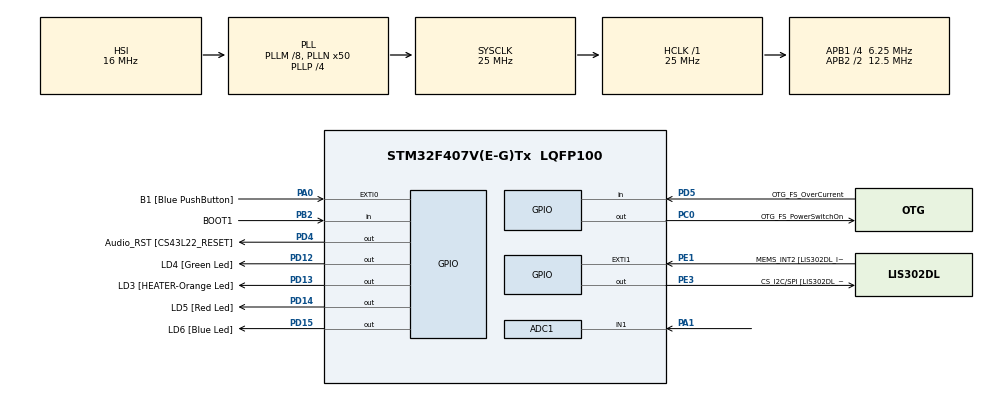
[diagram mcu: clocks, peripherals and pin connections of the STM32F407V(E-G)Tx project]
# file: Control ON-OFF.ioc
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ADC1.Channel-0\#ChannelRegularConversion=ADC_CHANNEL_1
ADC1.NbrOfConversionFlag=1
ADC1.Rank-0\#ChannelRegularConversion=1
ADC1.SamplingTime-0\#ChannelRegularConversion=ADC_SAMPLETIME_3CYCLES
ADC1.master=1
Mcu.Family=STM32F4
Mcu.Name=STM32F407V(E-G)Tx
Mcu.Package=LQFP100
NVIC.PriorityGroup=NVIC_PRIORITYGROUP_0
PA0-WKUP.GPIO_Label=B1 [Blue PushButton]
PA0-WKUP.Signal=GPXTI0
PA1.Signal=ADCx_IN1
PA10.GPIO_Label=OTG_FS_ID
PA10.GPIO_Mode=GPIO_MODE_AF_PP
PA10.GPIO_PuPd=GPIO_NOPULL
PA10.GPIO_Speed=GPIO_SPEED_FREQ_LOW
PA10.Signal=USB_OTG_FS_ID
PA11.GPIO_Label=OTG_FS_DM
PA11.GPIO_Mode=GPIO_MODE_AF_PP
PA11.GPIO_PuPd=GPIO_NOPULL
PA11.GPIO_Speed=GPIO_SPEED_FREQ_LOW
PA11.Signal=USB_OTG_FS_DM
PA12.GPIO_Label=OTG_FS_DP
PA12.GPIO_Mode=GPIO_MODE_AF_PP
PA12.GPIO_PuPd=GPIO_NOPULL
PA12.GPIO_Speed=GPIO_SPEED_FREQ_LOW
PA12.Signal=USB_OTG_FS_DP
PA13.GPIO_Label=SWDIO
PA13.Signal=SYS_JTMS-SWDIO
PA14.GPIO_Label=SWCLK
PA14.Signal=SYS_JTCK-SWCLK
PA4.GPIO_Label=I2S3_WS [CS43L22_LRCK]
PA4.GPIO_Mode=GPIO_MODE_AF_PP
PA4.GPIO_PuPd=GPIO_NOPULL
PA4.GPIO_Speed=GPIO_SPEED_FREQ_LOW
PA4.Signal=I2S3_WS
PA5.GPIO_Label=SPI1_SCK [LIS302DL_SCL/SPC]
PA5.GPIO_Mode=GPIO_MODE_AF_PP
PA5.GPIO_PuPd=GPIO_NOPULL
PA5.GPIO_Speed=GPIO_SPEED_FREQ_LOW
PA5.Signal=SPI1_SCK
PA6.GPIO_Label=SPI1_MISO [LIS302DL_SDO]
PA6.GPIO_Mode=GPIO_MODE_AF_PP
PA6.GPIO_PuPd=GPIO_NOPULL
PA6.GPIO_Speed=GPIO_SPEED_FREQ_LOW
PA6.Signal=SPI1_MISO
PA7.GPIO_Label=SPI1_MOSI [LIS302DL_SDA/SDI/SDO]
PA7.GPIO_Mode=GPIO_MODE_AF_PP
PA7.GPIO_PuPd=GPIO_NOPULL
PA7.GPIO_Speed=GPIO_SPEED_FREQ_LOW
PA7.Signal=SPI1_MOSI
PA9.GPIO_Label=VBUS_FS
PA9.GPIO_Mode=GPIO_MODE_INPUT
PA9.GPIO_PuPd=GPIO_NOPULL
PA9.Signal=USB_OTG_FS_VBUS
PB10.GPIO_Label=CLK_IN [MP45DT02_CLK]
PB10.GPIO_Mode=GPIO_MODE_AF_PP
PB10.GPIO_PuPd=GPIO_NOPULL
PB10.GPIO_Speed=GPIO_SPEED_FREQ_LOW
PB10.Signal=I2S2_CK
PB2.GPIO_Label=BOOT1
PB2.GPIO_Mode=GPIO_MODE_INPUT
PB2.GPIO_PuPd=GPIO_NOPULL
PB2.Signal=GPIO_Input
PB3.GPIO_Label=SWO
PB3.Signal=SYS_JTDO-SWO
PB6.GPIO_Label=Audio_SCL [CS43L22_SCL]
PB6.GPIO_Mode=GPIO_MODE_AF_OD
PB6.GPIO_PuPd=GPIO_NOPULL
PB6.GPIO_Speed=GPIO_SPEED_FREQ_LOW
PB6.Signal=I2C1_SCL
PB9.GPIO_Label=Audio_SDA [CS43L22_SDA]
PB9.GPIO_Mode=GPIO_MODE_AF_OD
PB9.GPIO_PuPd=GPIO_NOPULL
PB9.GPIO_Speed=GPIO_SPEED_FREQ_LOW
PB9.Signal=I2C1_SDA
PC0.GPIO_Label=OTG_FS_PowerSwitchOn
PC0.GPIO_PuPd=GPIO_NOPULL
PC0.GPIO_Speed=GPIO_SPEED_FREQ_LOW
PC0.PinState=GPIO_PIN_SET
PC0.Signal=GPIO_Output
PC10.GPIO_Label=I2S3_SCK [CS43L22_SCLK]
PC10.GPIO_Mode=GPIO_MODE_AF_PP
PC10.GPIO_PuPd=GPIO_NOPULL
PC10.GPIO_Speed=GPIO_SPEED_FREQ_LOW
PC10.Signal=I2S3_CK
PC12.GPIO_Label=I2S3_SD [CS43L22_SDIN]
PC12.GPIO_Mode=GPIO_MODE_AF_PP
PC12.GPIO_PuPd=GPIO_NOPULL
PC12.GPIO_Speed=GPIO_SPEED_FREQ_LOW
PC12.Signal=I2S3_SD
PC14-OSC32_IN.GPIO_Label=PC14-OSC32_IN
PC14-OSC32_IN.Signal=RCC_OSC32_IN
PC15-OSC32_OUT.GPIO_Label=PC15-OSC32_OUT
PC15-OSC32_OUT.Signal=RCC_OSC32_OUT
PC3.GPIO_Label=PDM_OUT [MP45DT02_DOUT]
PC3.GPIO_Mode=GPIO_MODE_AF_PP
PC3.GPIO_PuPd=GPIO_NOPULL
PC3.GPIO_Speed=GPIO_SPEED_FREQ_LOW
PC3.Signal=I2S2_SD
PC7.GPIO_Label=I2S3_MCK [CS43L22_MCLK]
PC7.GPIO_Mode=GPIO_MODE_AF_PP
PC7.GPIO_PuPd=GPIO_NOPULL
PC7.GPIO_Speed=GPIO_SPEED_FREQ_LOW
PC7.Signal=I2S3_MCK
PD12.GPIO_Label=LD4 [Green Led]
PD12.GPIO_PuPd=GPIO_NOPULL
PD12.GPIO_Speed=GPIO_SPEED_FREQ_LOW
PD12.Signal=GPIO_Output
PD13.GPIO_Label=LD3 [HEATER-Orange Led]
PD13.GPIO_PuPd=GPIO_NOPULL
PD13.GPIO_Speed=GPIO_SPEED_FREQ_LOW
PD13.Signal=GPIO_Output
PD14.GPIO_Label=LD5 [Red Led]
PD14.GPIO_PuPd=GPIO_NOPULL
PD14.GPIO_Speed=GPIO_SPEED_FREQ_LOW
PD14.Signal=GPIO_Output
PD15.GPIO_Label=LD6 [Blue Led]
PD15.GPIO_PuPd=GPIO_NOPULL
PD15.GPIO_Speed=GPIO_SPEED_FREQ_LOW
PD15.Signal=GPIO_Output
PD4.GPIO_Label=Audio_RST [CS43L22_RESET]
PD4.GPIO_PuPd=GPIO_NOPULL
PD4.GPIO_Speed=GPIO_SPEED_FREQ_LOW
PD4.Signal=GPIO_Output
PD5.GPIO_Label=OTG_FS_OverCurrent
PD5.GPIO_Mode=GPIO_MODE_INPUT
PD5.GPIO_PuPd=GPIO_NOPULL
PD5.Signal=GPIO_Input
PE1.GPIO_Label=MEMS_INT2 [LIS302DL_INT2]
PE1.GPIO_ModeDefaultEXTI=GPIO_MODE_EVT_RISING
PE1.GPIO_PuPd=GPIO_NOPULL
PE1.Signal=GPXTI1
PE3.GPIO_Label=CS_I2C/SPI [LIS302DL_CS_I2C/SPI]
PE3.GPIO_PuPd=GPIO_NOPULL
PE3.GPIO_Speed=GPIO_SPEED_FREQ_LOW
PE3.Signal=GPIO_Output
PH0-OSC_IN.GPIO_Label=PH0-OSC_IN
PH0-OSC_IN.Signal=RCC_OSC_IN
PH1-OSC_OUT.GPIO_Label=PH1-OSC_OUT
PH1-OSC_OUT.Signal=RCC_OSC_OUT
ProjectManager.HeapSize=0x200
ProjectManager.StackSize=0x400
ProjectManager.TargetToolchain=STM32CubeIDE
RCC.48MHZClocksFreq_Value=14285714.285714285
RCC.AHBFreq_Value=25000000
RCC.APB1CLKDivider=RCC_HCLK_DIV4
RCC.APB1Freq_Value=6250000
RCC.APB1TimFreq_Value=12500000
RCC.APB2CLKDivider=RCC_HCLK_DIV2
RCC.APB2Freq_Value=12500000
RCC.APB2TimFreq_Value=25000000
RCC.CortexFreq_Value=25000000
RCC.HCLKFreq_Value=25000000
RCC.HSE_VALUE=8000000
RCC.HSI_VALUE=16000000
RCC.LSE_VALUE=32768
RCC.PLLM=8
RCC.PLLN=50
RCC.PLLP=RCC_PLLP_DIV4
RCC.PLLQ=7
RCC.SYSCLKFreq_VALUE=25000000
RCC.SYSCLKSource=RCC_SYSCLKSOURCE_PLLCLK
RCC.VCOOutputFreq_Value=100000000
SH.ADCx_IN1.0=ADC1_IN1,IN1
board=STM32F407G-DISC1

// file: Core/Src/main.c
/* USER CODE BEGIN Header */
/**
  ******************************************************************************
  * @file           : main.c
  * @brief          : Main program body
  ******************************************************************************
  * @attention
  *
  * <h2><center>&copy; Copyright (c) 2021 STMicroelectronics.
  * All rights reserved.</center></h2>
  *
  * This software component is licensed by ST under BSD 3-Clause license,
  * the "License"; You may not use this file except in compliance with the
  * License. You may obtain a copy of the License at:
  *                        opensource.org/licenses/BSD-3-Clause
  *
  ******************************************************************************
  */
/* USER CODE END Header */
#include "main.h"

/* USER CODE BEGIN PD */
#define RED GPIO_PIN_14
#define GREEN GPIO_PIN_12
#define BLUE GPIO_PIN_15
#define HEATER GPIO_PIN_13
/* USER CODE END PD */

ADC_HandleTypeDef hadc1;

/* USER CODE BEGIN PV */
float adcValue;
int temp;
/* USER CODE END PV */

void SystemClock_Config(void);
static void MX_GPIO_Init(void);
static void MX_ADC1_Init(void);

int main(void)
{

  /* MCU Configuration--------------------------------------------------------*/

  /* Reset of all peripherals, Initializes the Flash interface and the Systick. */
  HAL_Init();

  /* Configure the system clock */
  SystemClock_Config();

  /* Initialize all configured peripherals */
  MX_GPIO_Init();
  MX_ADC1_Init();

  /* Infinite loop */
  while (1)
  {

    /* USER CODE BEGIN 3 */
	  HAL_ADC_Start(&hadc1);
	  if(HAL_ADC_PollForConversion(&hadc1, 5) == HAL_OK){
		  adcValue= HAL_ADC_GetValue(&hadc1);
	  }
	  HAL_ADC_Stop(&hadc1);

	  temp= adcValue/12.4;	//valor de 13.7833 según calculos propios
	  if(temp<100){
		  HAL_GPIO_WritePin(GPIOD, HEATER, GPIO_PIN_SET);
	  }else{
		  HAL_GPIO_WritePin(GPIOD, HEATER, GPIO_PIN_RESET);
	  }

	  if(temp<50){
		  HAL_GPIO_WritePin(GPIOD, BLUE, GPIO_PIN_SET);
	  }else{
		  HAL_GPIO_WritePin(GPIOD, BLUE, GPIO_PIN_RESET);
	  }
	  if(temp>=50 && temp<60){
		  HAL_GPIO_WritePin(GPIOD, GREEN, GPIO_PIN_SET);
	  }else{
		  HAL_GPIO_WritePin(GPIOD, GREEN, GPIO_PIN_RESET);
	  }
	  if(temp>=60){
		  HAL_GPIO_WritePin(GPIOD, RED, GPIO_PIN_SET);
	  }else{
		  HAL_GPIO_WritePin(GPIOD, RED, GPIO_PIN_RESET);
	  }
  }
  /* USER CODE END 3 */
}

void SystemClock_Config(void)
{
  RCC_OscInitTypeDef RCC_OscInitStruct = {0};
  RCC_ClkInitTypeDef RCC_ClkInitStruct = {0};

  /** Configure the main internal regulator output voltage
  */
  __HAL_RCC_PWR_CLK_ENABLE();
  __HAL_PWR_VOLTAGESCALING_CONFIG(PWR_REGULATOR_VOLTAGE_SCALE1);
  /** Initializes the RCC Oscillators according to the specified parameters
  * in the RCC_OscInitTypeDef structure.
  */
  RCC_OscInitStruct.OscillatorType = RCC_OSCILLATORTYPE_HSI;
  RCC_OscInitStruct.HSIState = RCC_HSI_ON;
  RCC_OscInitStruct.HSICalibrationValue = RCC_HSICALIBRATION_DEFAULT;
  RCC_OscInitStruct.PLL.PLLState = RCC_PLL_ON;
  RCC_OscInitStruct.PLL.PLLSource = RCC_PLLSOURCE_HSI;
  RCC_OscInitStruct.PLL.PLLM = 8;
  RCC_OscInitStruct.PLL.PLLN = 50;
  RCC_OscInitStruct.PLL.PLLP = RCC_PLLP_DIV4;
  RCC_OscInitStruct.PLL.PLLQ = 7;
  if (HAL_RCC_OscConfig(&RCC_OscInitStruct) != HAL_OK)
  {
    Error_Handler();
  }
  /** Initializes the CPU, AHB and APB buses clocks
  */
  RCC_ClkInitStruct.ClockType = RCC_CLOCKTYPE_HCLK|RCC_CLOCKTYPE_SYSCLK
                              |RCC_CLOCKTYPE_PCLK1|RCC_CLOCKTYPE_PCLK2;
  RCC_ClkInitStruct.SYSCLKSource = RCC_SYSCLKSOURCE_PLLCLK;
  RCC_ClkInitStruct.AHBCLKDivider = RCC_SYSCLK_DIV1;
  RCC_ClkInitStruct.APB1CLKDivider = RCC_HCLK_DIV4;
  RCC_ClkInitStruct.APB2CLKDivider = RCC_HCLK_DIV2;

  if (HAL_RCC_ClockConfig(&RCC_ClkInitStruct, FLASH_LATENCY_0) != HAL_OK)
  {
    Error_Handler();
  }
}

static void MX_ADC1_Init(void)
{

  ADC_ChannelConfTypeDef sConfig = {0};

  /** Configure the global features of the ADC (Clock, Resolution, Data Alignment and number of conversion)
  */
  hadc1.Instance = ADC1;
  hadc1.Init.ClockPrescaler = ADC_CLOCK_SYNC_PCLK_DIV2;
  hadc1.Init.Resolution = ADC_RESOLUTION_12B;
  hadc1.Init.ScanConvMode = DISABLE;
  hadc1.Init.ContinuousConvMode = DISABLE;
  hadc1.Init.DiscontinuousConvMode = DISABLE;
  hadc1.Init.ExternalTrigConvEdge = ADC_EXTERNALTRIGCONVEDGE_NONE;
  hadc1.Init.ExternalTrigConv = ADC_SOFTWARE_START;
  hadc1.Init.DataAlign = ADC_DATAALIGN_RIGHT;
  hadc1.Init.NbrOfConversion = 1;
  hadc1.Init.DMAContinuousRequests = DISABLE;
  hadc1.Init.EOCSelection = ADC_EOC_SINGLE_CONV;
  if (HAL_ADC_Init(&hadc1) != HAL_OK)
  {
    Error_Handler();
  }
  /** Configure for the selected ADC regular channel its corresponding rank in the sequencer and its sample time.
  */
  sConfig.Channel = ADC_CHANNEL_1;
  sConfig.Rank = 1;
  sConfig.SamplingTime = ADC_SAMPLETIME_3CYCLES;
  if (HAL_ADC_ConfigChannel(&hadc1, &sConfig) != HAL_OK)
  {
    Error_Handler();
  }

}

static void MX_GPIO_Init(void)
{
  GPIO_InitTypeDef GPIO_InitStruct = {0};

  /* GPIO Ports Clock Enable */
  __HAL_RCC_GPIOE_CLK_ENABLE();
  __HAL_RCC_GPIOC_CLK_ENABLE();
  __HAL_RCC_GPIOH_CLK_ENABLE();
  __HAL_RCC_GPIOA_CLK_ENABLE();
  __HAL_RCC_GPIOB_CLK_ENABLE();
  __HAL_RCC_GPIOD_CLK_ENABLE();

  /*Configure GPIO pin Output Level */
  HAL_GPIO_WritePin(CS_I2C_SPI_GPIO_Port, CS_I2C_SPI_Pin, GPIO_PIN_RESET);

  /*Configure GPIO pin Output Level */
  HAL_GPIO_WritePin(OTG_FS_PowerSwitchOn_GPIO_Port, OTG_FS_PowerSwitchOn_Pin, GPIO_PIN_SET);

  /*Configure GPIO pin Output Level */
  HAL_GPIO_WritePin(GPIOD, LD4_Pin|LD3_Pin|LD5_Pin|LD6_Pin
                          |Audio_RST_Pin, GPIO_PIN_RESET);

  /*Configure GPIO pin : CS_I2C_SPI_Pin */
  GPIO_InitStruct.Pin = CS_I2C_SPI_Pin;
  GPIO_InitStruct.Mode = GPIO_MODE_OUTPUT_PP;
  GPIO_InitStruct.Pull = GPIO_NOPULL;
  GPIO_InitStruct.Speed = GPIO_SPEED_FREQ_LOW;
  HAL_GPIO_Init(CS_I2C_SPI_GPIO_Port, &GPIO_InitStruct);

  /*Configure GPIO pin : OTG_FS_PowerSwitchOn_Pin */
  GPIO_InitStruct.Pin = OTG_FS_PowerSwitchOn_Pin;
  GPIO_InitStruct.Mode = GPIO_MODE_OUTPUT_PP;
  GPIO_InitStruct.Pull = GPIO_NOPULL;
  GPIO_InitStruct.Speed = GPIO_SPEED_FREQ_LOW;
  HAL_GPIO_Init(OTG_FS_PowerSwitchOn_GPIO_Port, &GPIO_InitStruct);

  /*Configure GPIO pin : PDM_OUT_Pin */
  GPIO_InitStruct.Pin = PDM_OUT_Pin;
  GPIO_InitStruct.Mode = GPIO_MODE_AF_PP;
  GPIO_InitStruct.Pull = GPIO_NOPULL;
  GPIO_InitStruct.Speed = GPIO_SPEED_FREQ_LOW;
  GPIO_InitStruct.Alternate = GPIO_AF5_SPI2;
  HAL_GPIO_Init(PDM_OUT_GPIO_Port, &GPIO_InitStruct);

  /*Configure GPIO pin : B1_Pin */
  GPIO_InitStruct.Pin = B1_Pin;
  GPIO_InitStruct.Mode = GPIO_MODE_IT_RISING;
  GPIO_InitStruct.Pull = GPIO_NOPULL;
  HAL_GPIO_Init(B1_GPIO_Port, &GPIO_InitStruct);

  /*Configure GPIO pin : I2S3_WS_Pin */
  GPIO_InitStruct.Pin = I2S3_WS_Pin;
  GPIO_InitStruct.Mode = GPIO_MODE_AF_PP;
  GPIO_InitStruct.Pull = GPIO_NOPULL;
  GPIO_InitStruct.Speed = GPIO_SPEED_FREQ_LOW;
  GPIO_InitStruct.Alternate = GPIO_AF6_SPI3;
  HAL_GPIO_Init(I2S3_WS_GPIO_Port, &GPIO_InitStruct);

  /*Configure GPIO pins : SPI1_SCK_Pin SPI1_MISO_Pin SPI1_MOSI_Pin */
  GPIO_InitStruct.Pin = SPI1_SCK_Pin|SPI1_MISO_Pin|SPI1_MOSI_Pin;
  GPIO_InitStruct.Mode = GPIO_MODE_AF_PP;
  GPIO_InitStruct.Pull = GPIO_NOPULL;
  GPIO_InitStruct.Speed = GPIO_SPEED_FREQ_LOW;
  GPIO_InitStruct.Alternate = GPIO_AF5_SPI1;
  HAL_GPIO_Init(GPIOA, &GPIO_InitStruct);

  /*Configure GPIO pin : BOOT1_Pin */
  GPIO_InitStruct.Pin = BOOT1_Pin;
  GPIO_InitStruct.Mode = GPIO_MODE_INPUT;
  GPIO_InitStruct.Pull = GPIO_NOPULL;
  HAL_GPIO_Init(BOOT1_GPIO_Port, &GPIO_InitStruct);

  /*Configure GPIO pin : CLK_IN_Pin */
  GPIO_InitStruct.Pin = CLK_IN_Pin;
  GPIO_InitStruct.Mode = GPIO_MODE_AF_PP;
  GPIO_InitStruct.Pull = GPIO_NOPULL;
  GPIO_InitStruct.Speed = GPIO_SPEED_FREQ_LOW;
  GPIO_InitStruct.Alternate = GPIO_AF5_SPI2;
  HAL_GPIO_Init(CLK_IN_GPIO_Port, &GPIO_InitStruct);

  /*Configure GPIO pins : LD4_Pin LD3_Pin LD5_Pin LD6_Pin
                           Audio_RST_Pin */
  GPIO_InitStruct.Pin = LD4_Pin|LD3_Pin|LD5_Pin|LD6_Pin
                          |Audio_RST_Pin;
  GPIO_InitStruct.Mode = GPIO_MODE_OUTPUT_PP;
  GPIO_InitStruct.Pull = GPIO_NOPULL;
  GPIO_InitStruct.Speed = GPIO_SPEED_FREQ_LOW;
  HAL_GPIO_Init(GPIOD, &GPIO_InitStruct);

  /*Configure GPIO pins : I2S3_MCK_Pin I2S3_SCK_Pin I2S3_SD_Pin */
  GPIO_InitStruct.Pin = I2S3_MCK_Pin|I2S3_SCK_Pin|I2S3_SD_Pin;
  GPIO_InitStruct.Mode = GPIO_MODE_AF_PP;
  GPIO_InitStruct.Pull = GPIO_NOPULL;
  GPIO_InitStruct.Speed = GPIO_SPEED_FREQ_LOW;
  GPIO_InitStruct.Alternate = GPIO_AF6_SPI3;
  HAL_GPIO_Init(GPIOC, &GPIO_InitStruct);

  /*Configure GPIO pin : VBUS_FS_Pin */
  GPIO_InitStruct.Pin = VBUS_FS_Pin;
  GPIO_InitStruct.Mode = GPIO_MODE_INPUT;
  GPIO_InitStruct.Pull = GPIO_NOPULL;
  HAL_GPIO_Init(VBUS_FS_GPIO_Port, &GPIO_InitStruct);

  /*Configure GPIO pins : OTG_FS_ID_Pin OTG_FS_DM_Pin OTG_FS_DP_Pin */
  GPIO_InitStruct.Pin = OTG_FS_ID_Pin|OTG_FS_DM_Pin|OTG_FS_DP_Pin;
  GPIO_InitStruct.Mode = GPIO_MODE_AF_PP;
  GPIO_InitStruct.Pull = GPIO_NOPULL;
  GPIO_InitStruct.Speed = GPIO_SPEED_FREQ_LOW;
  GPIO_InitStruct.Alternate = GPIO_AF10_OTG_FS;
  HAL_GPIO_Init(GPIOA, &GPIO_InitStruct);

  /*Configure GPIO pin : OTG_FS_OverCurrent_Pin */
  GPIO_InitStruct.Pin = OTG_FS_OverCurrent_Pin;
  GPIO_InitStruct.Mode = GPIO_MODE_INPUT;
  GPIO_InitStruct.Pull = GPIO_NOPULL;
  HAL_GPIO_Init(OTG_FS_OverCurrent_GPIO_Port, &GPIO_InitStruct);

  /*Configure GPIO pins : Audio_SCL_Pin Audio_SDA_Pin */
  GPIO_InitStruct.Pin = Audio_SCL_Pin|Audio_SDA_Pin;
  GPIO_InitStruct.Mode = GPIO_MODE_AF_OD;
  GPIO_InitStruct.Pull = GPIO_PULLUP;
  GPIO_InitStruct.Speed = GPIO_SPEED_FREQ_LOW;
  GPIO_InitStruct.Alternate = GPIO_AF4_I2C1;
  HAL_GPIO_Init(GPIOB, &GPIO_InitStruct);

  /*Configure GPIO pin : MEMS_INT2_Pin */
  GPIO_InitStruct.Pin = MEMS_INT2_Pin;
  GPIO_InitStruct.Mode = GPIO_MODE_EVT_RISING;
  GPIO_InitStruct.Pull = GPIO_NOPULL;
  HAL_GPIO_Init(MEMS_INT2_GPIO_Port, &GPIO_InitStruct);

}

void Error_Handler(void)
{
  __disable_irq();
  while (1)
  {
  }
}

/************************ (C) COPYRIGHT STMicroelectronics *****END OF FILE****/
